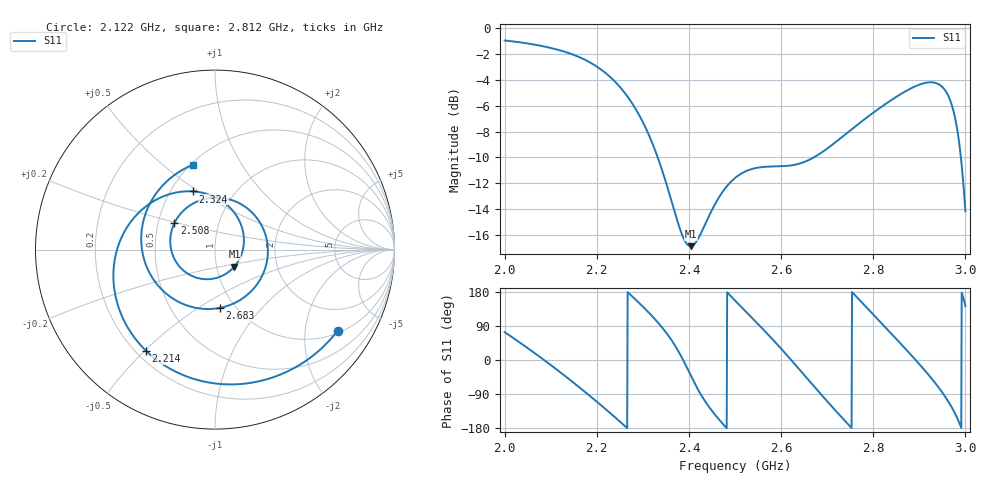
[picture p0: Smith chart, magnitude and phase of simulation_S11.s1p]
! TOUCHSTONE file generated by CST MICROWAVE STUDIO
! Date and time: Tue Nov 28 19:31:20 2023
! Project name: center feed with hand _ind_sweep.cst
! Parameters = {AL=32.6; AT=0; AW=1.5; C1=6e-13; Fdy=15.5; Gx=30; Gy=28; L1=4e-09; ST=1.5; ShT=0.035; Sx=30; Sy=30; b=1.5; d=1.5; d1=1; d2=5; h=3}
! Header version: 2018
! Port assignment regex: !\s*Touchstone port\s*([0-9]+)\s*=\s*(CST MWS port|CST DS port)\s*([0-9]+|Zmin|Zmax)\s*\(\"(.*)\"\)(\s*mode\s*([0-9]+))?.*
! Touchstone port assignment:
! Touchstone port 1 = CST MWS port 1 ("")
# GHz S RI R 50
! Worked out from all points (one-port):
!   1001 points, 2 GHz to 3 GHz, reference 50 ohm
!   lowest |S11| = -16.9 dB at 2.404 GHz (marker M1), VSWR 1.34, Z = 60.9 - j11.7 ohm
!   |S11| at or under -10 dB: 2.332 GHz to 2.671 GHz (338.3 MHz wide, 13.5 % of centre); 2.990254 GHz to end of sweep
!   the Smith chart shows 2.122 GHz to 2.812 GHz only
!   S11 on the Smith chart (normalised r, x): 2.122 GHz: 1.07, -2.96; 2.214 GHz: 0.24, -0.50; 2.324 GHz: 0.64, +0.48; 2.508 GHz: 0.61, +0.19; 2.683 GHz: 0.85, -0.62; 2.812 GHz: 0.51, +0.64
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2  0.2537 0.8601
2.066  0.8238 0.2589
2.094  0.8362 -0.1126
2.122  0.6827 -0.453
2.125  0.6572 -0.4843
2.17  0.1349 -0.7495
2.214  -0.384 -0.564
2.25  -0.5651 -0.1805
2.291  -0.4092 0.2204
2.324  -0.1226 0.3243
2.375  0.1591 0.0834
2.404  0.1083 -0.0942
2.446  -0.1173 -0.1515
2.5  -0.2423 0.103
2.508  -0.2263 0.1472
2.565  0.0707 0.2823
2.625  0.2945 -0.0216
2.683  0.0255 -0.3251
2.715  -0.2268 -0.2779
2.75  -0.401 -0.0319
2.78  -0.3663 0.2491
2.812  -0.1239 0.4722
2.843  0.2275 0.4816
2.875  0.5315 0.2236
2.911  0.5506 -0.2705
2.947  0.0954 -0.5912
2.977  -0.3481 -0.2934
3  -0.1556 0.1189
